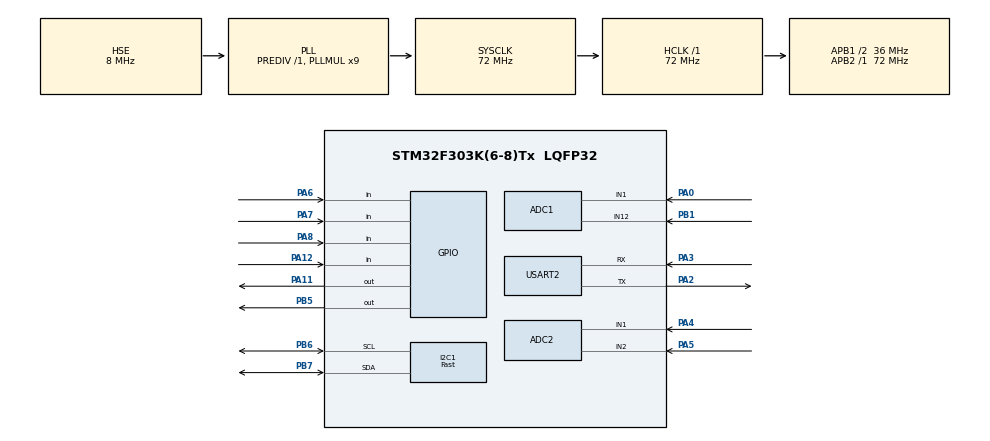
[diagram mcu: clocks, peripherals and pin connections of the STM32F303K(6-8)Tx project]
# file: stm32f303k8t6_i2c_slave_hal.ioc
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ADC1.Channel-1\#ChannelRegularConversion=ADC_CHANNEL_1
ADC1.InjNumberOfConversion=4
ADC1.InjectedChannel-2\#ChannelInjectedConversion=ADC_CHANNEL_1
ADC1.InjectedChannel-3\#ChannelInjectedConversion=ADC_CHANNEL_12
ADC1.InjectedChannel-4\#ChannelInjectedConversion=ADC_CHANNEL_TEMPSENSOR
ADC1.InjectedChannel-5\#ChannelInjectedConversion=ADC_CHANNEL_VBAT
ADC1.InjectedOffset-2\#ChannelInjectedConversion=0
ADC1.InjectedOffset-3\#ChannelInjectedConversion=0
ADC1.InjectedOffset-4\#ChannelInjectedConversion=0
ADC1.InjectedOffset-5\#ChannelInjectedConversion=0
ADC1.InjectedOffsetNumber-2\#ChannelInjectedConversion=ADC_OFFSET_NONE
ADC1.InjectedOffsetNumber-3\#ChannelInjectedConversion=ADC_OFFSET_NONE
ADC1.InjectedOffsetNumber-4\#ChannelInjectedConversion=ADC_OFFSET_NONE
ADC1.InjectedOffsetNumber-5\#ChannelInjectedConversion=ADC_OFFSET_NONE
ADC1.InjectedRank-2\#ChannelInjectedConversion=1
ADC1.InjectedRank-3\#ChannelInjectedConversion=2
ADC1.InjectedRank-4\#ChannelInjectedConversion=3
ADC1.InjectedRank-5\#ChannelInjectedConversion=4
ADC1.InjectedSamplingTime-2\#ChannelInjectedConversion=ADC_SAMPLETIME_4CYCLES_5
ADC1.InjectedSamplingTime-3\#ChannelInjectedConversion=ADC_SAMPLETIME_4CYCLES_5
ADC1.InjectedSamplingTime-4\#ChannelInjectedConversion=ADC_SAMPLETIME_4CYCLES_5
ADC1.InjectedSamplingTime-5\#ChannelInjectedConversion=ADC_SAMPLETIME_4CYCLES_5
ADC1.InjectedSamplingTimeOPAMP-2\#ChannelInjectedConversion=ADC_SAMPLETIME_61CYCLES_5
ADC1.InjectedSamplingTimeOPAMP-3\#ChannelInjectedConversion=ADC_SAMPLETIME_61CYCLES_5
ADC1.InjectedSamplingTimeOPAMP-4\#ChannelInjectedConversion=ADC_SAMPLETIME_61CYCLES_5
ADC1.InjectedSamplingTimeOPAMP-5\#ChannelInjectedConversion=ADC_SAMPLETIME_61CYCLES_5
ADC1.NbrOfConversionFlag=1
ADC1.Offset-1\#ChannelRegularConversion=0
ADC1.OffsetNumber-1\#ChannelRegularConversion=ADC_OFFSET_NONE
ADC1.Rank-1\#ChannelRegularConversion=1
ADC1.Rank4_Channel=ADC_CHANNEL_VBAT
ADC1.SamplingTime-1\#ChannelRegularConversion=ADC_SAMPLETIME_1CYCLE_5
ADC1.SubFamily=STM32F303x8
ADC1.master=1
ADC2.Channel-0\#ChannelRegularConversion=ADC_CHANNEL_1
ADC2.InjNumberOfConversion=2
ADC2.InjectedChannel-1\#ChannelInjectedConversion=ADC_CHANNEL_1
ADC2.InjectedChannel-2\#ChannelInjectedConversion=ADC_CHANNEL_2
ADC2.InjectedOffset-1\#ChannelInjectedConversion=0
ADC2.InjectedOffset-2\#ChannelInjectedConversion=0
ADC2.InjectedOffsetNumber-1\#ChannelInjectedConversion=ADC_OFFSET_NONE
ADC2.InjectedOffsetNumber-2\#ChannelInjectedConversion=ADC_OFFSET_NONE
ADC2.InjectedRank-1\#ChannelInjectedConversion=1
ADC2.InjectedRank-2\#ChannelInjectedConversion=2
ADC2.InjectedSamplingTime-1\#ChannelInjectedConversion=ADC_SAMPLETIME_4CYCLES_5
ADC2.InjectedSamplingTime-2\#ChannelInjectedConversion=ADC_SAMPLETIME_4CYCLES_5
ADC2.InjectedSamplingTimeOPAMP-1\#ChannelInjectedConversion=ADC_SAMPLETIME_61CYCLES_5
ADC2.InjectedSamplingTimeOPAMP-2\#ChannelInjectedConversion=ADC_SAMPLETIME_61CYCLES_5
ADC2.NbrOfConversionFlag=1
ADC2.Offset-0\#ChannelRegularConversion=0
ADC2.OffsetNumber-0\#ChannelRegularConversion=ADC_OFFSET_NONE
ADC2.Rank-0\#ChannelRegularConversion=1
ADC2.Rank1_Channel=ADC_CHANNEL_1
ADC2.Rank2_Channel=ADC_CHANNEL_2
ADC2.SamplingTime-0\#ChannelRegularConversion=ADC_SAMPLETIME_1CYCLE_5
ADC2.SubFamily=STM32F303x8
I2C1.I2C_Speed_Mode=I2C_Fast
I2C1.OwnAddress=0x20
I2C1.Timing=0x0000020B
Mcu.Family=STM32F3
Mcu.Name=STM32F303K(6-8)Tx
Mcu.Package=LQFP32
NVIC.I2C1_ER_IRQn=true\:0\:0\:false\:false\:true\:true\:true\:true
NVIC.I2C1_EV_IRQn=true\:0\:0\:false\:false\:true\:true\:true\:true
NVIC.PriorityGroup=NVIC_PRIORITYGROUP_4
PA0.Mode=IN1-Single-Ended
PA0.Signal=ADC1_IN1
PA11.Signal=GPIO_Output
PA12.Signal=GPIO_Input
PA13.Mode=Serial_Wire
PA13.Signal=SYS_JTMS-SWDIO
PA14.Mode=Serial_Wire
PA14.Signal=SYS_JTCK-SWCLK
PA2.Mode=Asynchronous
PA2.Signal=USART2_TX
PA3.Mode=Asynchronous
PA3.Signal=USART2_RX
PA4.Mode=IN1-Single-Ended
PA4.Signal=ADC2_IN1
PA5.Mode=IN2-Single-Ended
PA5.Signal=ADC2_IN2
PA6.Signal=GPIO_Input
PA7.Signal=GPIO_Input
PA8.Signal=GPIO_Input
PB1.Mode=IN12-Single-Ended
PB1.Signal=ADC1_IN12
PB5.Signal=GPIO_Output
PB6.Mode=I2C
PB6.Signal=I2C1_SCL
PB7.Mode=I2C
PB7.Signal=I2C1_SDA
PF0\ /\ OSC_IN.Mode=HSE-External-Clock-Source
PF0\ /\ OSC_IN.Signal=RCC_OSC_IN
ProjectManager.HeapSize=0x200
ProjectManager.StackSize=0x400
ProjectManager.TargetToolchain=STM32CubeIDE
RCC.AHBFreq_Value=72000000
RCC.APB1CLKDivider=RCC_HCLK_DIV2
RCC.APB1Freq_Value=36000000
RCC.APB1TimFreq_Value=72000000
RCC.APB2Freq_Value=72000000
RCC.APB2TimFreq_Value=72000000
RCC.CortexFreq_Value=72000000
RCC.HCLKFreq_Value=72000000
RCC.HSE_VALUE=8000000
RCC.HSI_VALUE=8000000
RCC.PLLMUL=RCC_PLL_MUL9
RCC.PLLSourceVirtual=RCC_PLLSOURCE_HSE
RCC.SYSCLKFreq_VALUE=72000000
RCC.SYSCLKSourceVirtual=RCC_SYSCLKSOURCE_PLLCLK
USART2.VirtualMode-Asynchronous=VM_ASYNC
VP_ADC1_TempSens_Input.Mode=IN-TempSens
VP_ADC1_Vbat_Input.Mode=IN-Vbat
board=custom

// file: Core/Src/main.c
/* USER CODE BEGIN Header */
/**
  ******************************************************************************
  * @file           : main.c
  * @brief          : Main program body
  ******************************************************************************
  * @attention
  *
  * Copyright (c) 2024 STMicroelectronics.
  * All rights reserved.
  *
  * This software is licensed under terms that can be found in the LICENSE file
  * in the root directory of this software component.
  * If no LICENSE file comes with this software, it is provided AS-IS.
  *
  ******************************************************************************
  */
/* USER CODE END Header */
#include "main.h"
#include "adc.h"
#include "i2c.h"
#include "usart.h"
#include "gpio.h"

/* USER CODE BEGIN PV */
// Флаги для 10 команд
volatile uint8_t command_received[10] = {0};

// Определите буферы для приема и передачи данных
uint8_t rxBuffer[2];	// Буфер для приема данных
uint8_t txBuffer[2];  // Буфер для передачи данных

// Измеренное значение АЦП
volatile uint16_t ADC_30V = 0;
volatile uint16_t ADC_08V = 0;
volatile uint16_t ADC_PAD = 0;
volatile uint16_t ADC_OTR = 0;
volatile uint16_t RES     = 0;
volatile uint16_t V_BAT   = 0;

#define tV_25   1.43f      // Напряжение (в вольтах) на датчике при температуре 25 °C.
#define tSlope  0.0043f    // Изменение напряжения (в вольтах) при изменении температуры на градус.
#define Vref    3.3f       // Образцовое напряжение АЦП (в вольтах).

float TEMP;
float POWER;
/* USER CODE END PV */

void SystemClock_Config(void);

int main(void)
{

  /* MCU Configuration--------------------------------------------------------*/

  /* Reset of all peripherals, Initializes the Flash interface and the Systick. */
  HAL_Init();

  /* Configure the system clock */
  SystemClock_Config();

  /* Initialize all configured peripherals */
  MX_GPIO_Init();
  MX_I2C1_Init();
  MX_ADC1_Init();
  MX_ADC2_Init();
  MX_USART2_UART_Init();
  /* USER CODE BEGIN 2 */
  // Запуск I2C slave на прием данных
  if(HAL_I2C_EnableListen_IT(&hi2c1) != HAL_OK)
    {
      /* Transfer error in reception process */
      Error_Handler();
    }
  /* USER CODE END 2 */

  /* Infinite loop */
  while (1)
  {
	  	  // приём данных
	  	  if (HAL_I2C_Slave_Receive_IT(&hi2c1, rxBuffer, sizeof(rxBuffer)) != HAL_OK)
	      {
	          // Ошибка приема
	          Error_Handler();
	      }

	  	  if (command_received[0] == 1)  // Калибровка АЦП отр ADC2
	  	  {
		  	  HAL_ADCEx_Calibration_Start(&hadc2, 2);
	  		  command_received[0] = 0;
	  	  }

	  	  if (command_received[1] == 1) // АЦП отр ADC2
	  	  {
	  		 HAL_ADCEx_InjectedStart(&hadc2); // Запуск АЦП
	  		 HAL_ADC_PollForConversion(&hadc2,100); //дождёмся окончания преобразований
	  		 ADC_OTR = HAL_ADCEx_InjectedGetValue(&hadc2,ADC_INJECTED_RANK_2);
	  		 txBuffer[0] = (int16_t) ADC_OTR;
	  		 HAL_ADCEx_InjectedStop(&hadc2); //остановим преобразования
	  	  	 command_received[1] = 0;
	  	  }

	  	  if (command_received[2] == 1) // Калибровка АЦП пад
	  	  {
	  		 HAL_ADCEx_Calibration_Start(&hadc2, 1);
	  	  	 command_received[2] = 0;
	  	  }

	  	  if (command_received[3] == 1) // АЦП пад
	  	  {
	  		HAL_ADCEx_InjectedStart(&hadc2);
	  		HAL_ADC_PollForConversion(&hadc2,100); //дождёмся окончания преобразований
	  		ADC_PAD = HAL_ADCEx_InjectedGetValue(&hadc2,ADC_INJECTED_RANK_1);
	  		txBuffer[0] = (int16_t) ADC_PAD;
	  		HAL_ADCEx_InjectedStop(&hadc2); //остановим преобразования
	  		command_received[3] = 0;
	  	  }

	  	  if (command_received[4] == 1) // Калибровка АЦП 30В
	  	  {
	  		  HAL_ADCEx_Calibration_Start(&hadc1, 1);
	  	  	  command_received[4] = 0;
	  	  }

	  	  if (command_received[5] == 1) // АЦП 30 В
	  	  {
	  		HAL_ADCEx_InjectedStart(&hadc1);
	  		HAL_ADC_PollForConversion(&hadc1,100); //дождёмся окончания преобразований
	  		ADC_30V = HAL_ADCEx_InjectedGetValue(&hadc1,ADC_INJECTED_RANK_1);
	  		txBuffer[0] = (int16_t) ADC_30V;
	  		HAL_ADCEx_InjectedStop(&hadc1); //остановим преобразования
	  		command_received[5] = 0;
	  	  }

	  	  if (command_received[6] == 1) // Калибровка АЦП 8 В
	  	  {
	  		 HAL_ADCEx_Calibration_Start(&hadc1, 2);
	  		 command_received[6] = 0;
	  	  }

	  	  if (command_received[7] == 1) // АЦП 8 В
	  	  {
	  		HAL_ADCEx_InjectedStart(&hadc1);
	  		HAL_ADC_PollForConversion(&hadc1,100); //дождёмся окончания преобразований
	  		ADC_08V = HAL_ADCEx_InjectedGetValue(&hadc1,ADC_INJECTED_RANK_2);
	  		txBuffer[0] = (int16_t) ADC_08V;
	  		HAL_ADCEx_InjectedStop(&hadc1); //остановим преобразования
	  	  	command_received[7] = 0;
	  	  }

	  	  if (command_received[8] == 1) // Температура
	  	  {
	  		HAL_ADCEx_InjectedStart(&hadc1);
	  		HAL_ADC_PollForConversion(&hadc1,100);
	  		RES = HAL_ADCEx_InjectedGetValue(&hadc1, ADC_INJECTED_RANK_3);
	  		TEMP = (float) RES/4096*Vref;   // Напряжение в вольтах на датчике.
	  		TEMP = (tV_25-TEMP)/tSlope + 25;   // Температура в градусах.
	  		RES = (int16_t) TEMP;
	  		txBuffer[0] = (int16_t) TEMP;
	  		HAL_ADCEx_InjectedStop(&hadc1); //остановим преобразования
	  	  	command_received[8] = 0;
	  	  }

	  	  if (command_received[9] == 1) // Мощность
	  	  {
	  		HAL_ADCEx_InjectedStart(&hadc1);
	  		HAL_ADC_PollForConversion(&hadc1,100);
	  		V_BAT = HAL_ADCEx_InjectedGetValue(&hadc1, ADC_INJECTED_RANK_4);
	  		POWER = (float) V_BAT/4096*Vref; // Напряжение в вольтах
	  		txBuffer[0] = (int16_t) POWER;
	  		HAL_ADCEx_InjectedStop(&hadc1); //остановим преобразования
	  	  	command_received[9] = 0;
	  	  }

	  	  if (HAL_I2C_Slave_Transmit_IT(&hi2c1, txBuffer, sizeof(txBuffer)) != HAL_OK)
	  	  {
	  	    // Ошибка отправки
	  	    Error_Handler();
	  	  }

  }
}

void SystemClock_Config(void)
{
  RCC_OscInitTypeDef RCC_OscInitStruct = {0};
  RCC_ClkInitTypeDef RCC_ClkInitStruct = {0};
  RCC_PeriphCLKInitTypeDef PeriphClkInit = {0};

  /** Initializes the RCC Oscillators according to the specified parameters
  * in the RCC_OscInitTypeDef structure.
  */
  RCC_OscInitStruct.OscillatorType = RCC_OSCILLATORTYPE_HSI|RCC_OSCILLATORTYPE_HSE;
  RCC_OscInitStruct.HSEState = RCC_HSE_BYPASS;
  RCC_OscInitStruct.HSEPredivValue = RCC_HSE_PREDIV_DIV1;
  RCC_OscInitStruct.HSIState = RCC_HSI_ON;
  RCC_OscInitStruct.HSICalibrationValue = RCC_HSICALIBRATION_DEFAULT;
  RCC_OscInitStruct.PLL.PLLState = RCC_PLL_ON;
  RCC_OscInitStruct.PLL.PLLSource = RCC_PLLSOURCE_HSE;
  RCC_OscInitStruct.PLL.PLLMUL = RCC_PLL_MUL9;
  if (HAL_RCC_OscConfig(&RCC_OscInitStruct) != HAL_OK)
  {
    Error_Handler();
  }

  /** Initializes the CPU, AHB and APB buses clocks
  */
  RCC_ClkInitStruct.ClockType = RCC_CLOCKTYPE_HCLK|RCC_CLOCKTYPE_SYSCLK
                              |RCC_CLOCKTYPE_PCLK1|RCC_CLOCKTYPE_PCLK2;
  RCC_ClkInitStruct.SYSCLKSource = RCC_SYSCLKSOURCE_PLLCLK;
  RCC_ClkInitStruct.AHBCLKDivider = RCC_SYSCLK_DIV1;
  RCC_ClkInitStruct.APB1CLKDivider = RCC_HCLK_DIV2;
  RCC_ClkInitStruct.APB2CLKDivider = RCC_HCLK_DIV1;

  if (HAL_RCC_ClockConfig(&RCC_ClkInitStruct, FLASH_LATENCY_2) != HAL_OK)
  {
    Error_Handler();
  }
  PeriphClkInit.PeriphClockSelection = RCC_PERIPHCLK_I2C1|RCC_PERIPHCLK_ADC12;
  PeriphClkInit.Adc12ClockSelection = RCC_ADC12PLLCLK_DIV1;
  PeriphClkInit.I2c1ClockSelection = RCC_I2C1CLKSOURCE_HSI;
  if (HAL_RCCEx_PeriphCLKConfig(&PeriphClkInit) != HAL_OK)
  {
    Error_Handler();
  }
}

/* USER CODE BEGIN 4 */
/* Обработчик прерывания по приему данных по I2C */
void HAL_I2C_SlaveRxCpltCallback(I2C_HandleTypeDef *hi2c)
{
    // Данные успешно приняты
    // Здесь можно обработать принятые данные
	switch (rxBuffer[0])
		        {
		            case 0x0A: // Калибровка АЦП отр
		                command_received[0] = 1;
		                rxBuffer[0] = 0;
		                break;
		            case 0x05: // АЦП отр
		                command_received[1] = 1;
		                rxBuffer[0] = 0;
		                break;
		            case 0x0B: // Калибровка АЦП пад
		                command_received[2] = 1;
		                rxBuffer[0] = 0;
		                break;
		            case 0x06: // АЦП пад
		                command_received[3] = 1;
		                rxBuffer[0] = 0;
		                break;
		            case 0x0C: // Калибровка АЦП 30В
		                command_received[4] = 1;
		                rxBuffer[0] = 0;
		                break;
		            case 0x07: // АЦП 30 В
		                command_received[5] = 1;
		                rxBuffer[0] = 0;
		                break;
		            case 0x0D: // Калибровка АЦП 8 В
		                command_received[6] = 1;
		                rxBuffer[0] = 0;
		                break;
		            case 0x08: // АЦП 8 В
		                command_received[7] = 1;
		                rxBuffer[0] = 0;
		                break;
		            case 0x0E: // Температура
		                command_received[8] = 1;
		                rxBuffer[0] = 0;
		                break;
		            case 0x0F: // Мощность
		                command_received[9] = 1;
		                rxBuffer[0] = 0;
		                break;
		            default:
		                break;
		        }
	/*
	 // Перезапуск приема
	    if (HAL_I2C_Slave_Receive_IT(hi2c, rxBuffer, sizeof(rxBuffer)) != HAL_OK)
	    {
	        // Ошибка приема
	        Error_Handler();
	    }
	    */
}

/* Обработчик прерывания по передаче данных по I2C */
void HAL_I2C_SlaveTxCpltCallback(I2C_HandleTypeDef *hi2c)
{
    // Данные успешно переданы
    // Здесь можно обновить данные для передачи, если необходимо
	// Очистка буфера
	// Очистка буфера
	for (int i = 0; i < sizeof(txBuffer); i++)
	{
	    txBuffer[i] = 0;
	}
	/*
    // Перезапуск передачи
    if (HAL_I2C_Slave_Transmit_IT(hi2c, txBuffer, sizeof(txBuffer)) != HAL_OK)
    {
        // Ошибка передачи
        Error_Handler();
    }
    */
}
/* USER CODE END 4 */

void Error_Handler(void)
{
  __disable_irq();
  while (1)
  {
  }
}
